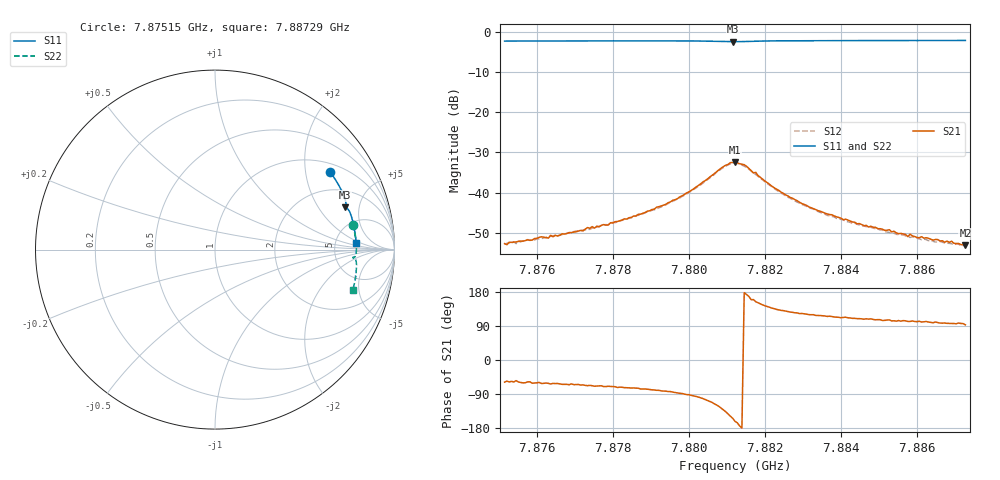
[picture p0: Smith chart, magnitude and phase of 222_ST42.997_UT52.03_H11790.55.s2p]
#  HZ  S  DB  R  50.00
! Rohde & Schwarz Vector Network Analyzer
! Rohde-Schwarz,ZNB20-2Port,1311601062101988,3.16
! Created: UTC 1/12/2023, 6:45:56 PM
! freq[Hz]  db:S11  ang:S11  db:S21  ang:S21  db:S12  ang:S12  db:S22  ang:S22
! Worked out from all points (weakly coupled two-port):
!   201 points, 7.87515 GHz to 7.88729 GHz, reference 50 ohm
!   highest |S21| = -32.45 dB at 7.88122 GHz (marker M1); lowest = -53.1 dB at 7.88729 GHz (marker M2)
!   lowest |S11| = -2.4 dB at 7.88116 GHz (marker M3), VSWR 7.33, Z = 159 + j178 ohm
!   |S11| at or under -10 dB: nowhere
!   |S22| runs from -2.3 to -1.9 dB; largest |S21 - S12| = 0.0021
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7.875154e9  -2.23 34.1  -52.72 -58.4  -52.89 -60.1  -2.17 10.2
7.877217e9  -2.20 28.5  -49.55 -65.6  -49.30 -70.3  -2.10 5.4
7.877338e9  -2.20 28.1  -48.71 -67.7  -49.15 -69.8  -2.10 5.2
7.877884e9  -2.19 26.7  -48.08 -69.3  -48.03 -72.8  -2.09 3.9
7.879218e9  -2.18 22.9  -43.50 -80.0  -43.76 -83.9  -2.07 0.8
7.880007e9  -2.20 20.7  -39.81 -91.6  -39.96 -95.3  -2.08 -1.2
7.880856e9  -2.32 18.3  -33.89 -126.9  -34.13 -130.1  -2.19 -3.3
7.881159e9  -2.38 18.1  -32.52 -153.9  -32.71 -157.6  -2.27 -3.4
7.88122e9  -2.38 18.1  -32.45 -161.8  -32.68 -163.8  -2.28 -3.3
7.881462e9  -2.34 18.1  -33.04 177.7  -33.41 172.6  -2.24 -3.2
7.881705e9  -2.27 17.7  -35.11 159.5  -35.02 154.6  -2.17 -3.5
7.882615e9  -2.15 15.1  -40.84 127.3  -41.15 123.9  -2.03 -5.7
7.883282e9  -2.13 13.2  -43.96 119.6  -44.07 115.2  -2.00 -7.3
7.884313e9  -2.11 10.4  -47.32 109.9  -47.75 106.8  -1.97 -9.7
7.884738e9  -2.10 9.3  -48.59 107.9  -48.48 104.3  -1.96 -10.6
7.885284e9  -2.10 7.8  -49.25 105.8  -49.95 102.7  -1.96 -11.8
7.885769e9  -2.09 6.5  -50.97 101.8  -50.84 99.2  -1.95 -12.9
7.885829e9  -2.09 6.4  -50.39 101.7  -51.19 98.7  -1.95 -13.0
7.886011e9  -2.09 5.9  -51.19 101.3  -51.33 98.3  -1.95 -13.4
7.886739e9  -2.08 4.0  -52.37 97.7  -52.56 94.9  -1.94 -15.0
7.886921e9  -2.08 3.5  -52.12 96.7  -52.72 95.9  -1.94 -15.3
7.887285e9  -2.08 2.6  -53.14 92.8  -53.36 92.1  -1.94 -16.2
